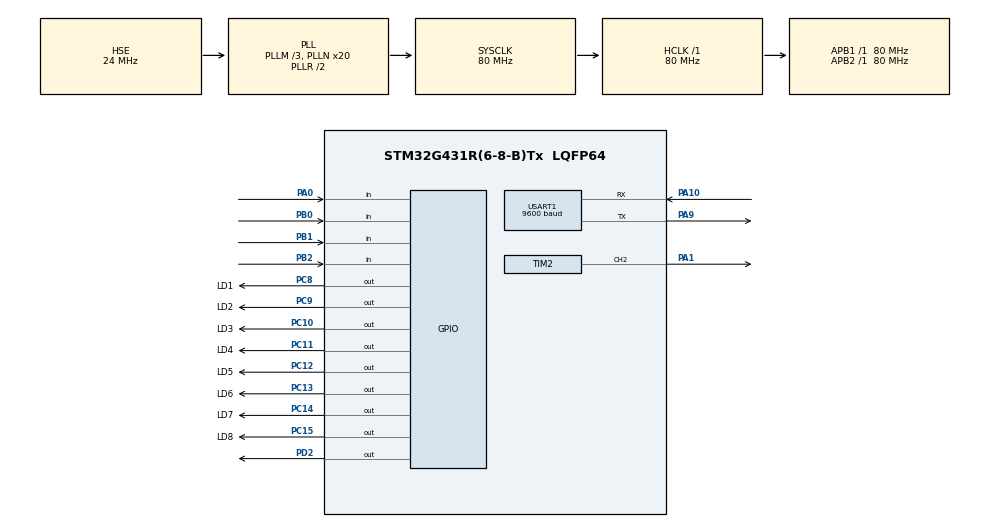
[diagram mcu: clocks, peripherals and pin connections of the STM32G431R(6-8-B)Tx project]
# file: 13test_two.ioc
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Mcu.Family=STM32G4
Mcu.Name=STM32G431R(6-8-B)Tx
Mcu.Package=LQFP64
NVIC.PriorityGroup=NVIC_PRIORITYGROUP_2
NVIC.TIM6_DAC_IRQn=true\:0\:0\:false\:false\:true\:true\:true\:true
NVIC.USART1_IRQn=true\:0\:0\:false\:false\:true\:true\:true\:true
PA0.Signal=GPIO_Input
PA1.Signal=S_TIM2_CH2
PA10.Mode=Asynchronous
PA10.Signal=USART1_RX
PA13.Mode=Serial_Wire
PA13.Signal=SYS_JTMS-SWDIO
PA14.Mode=Serial_Wire
PA14.Signal=SYS_JTCK-SWCLK
PA9.Mode=Asynchronous
PA9.Signal=USART1_TX
PB0.Signal=GPIO_Input
PB1.Signal=GPIO_Input
PB2.Signal=GPIO_Input
PC10.GPIO_Label=LD3
PC10.PinState=GPIO_PIN_SET
PC10.Signal=GPIO_Output
PC11.GPIO_Label=LD4
PC11.PinState=GPIO_PIN_SET
PC11.Signal=GPIO_Output
PC12.GPIO_Label=LD5
PC12.PinState=GPIO_PIN_SET
PC12.Signal=GPIO_Output
PC13.GPIO_Label=LD6
PC13.PinState=GPIO_PIN_SET
PC13.Signal=GPIO_Output
PC14-OSC32_IN.GPIO_Label=LD7
PC14-OSC32_IN.PinState=GPIO_PIN_SET
PC14-OSC32_IN.Signal=GPIO_Output
PC15-OSC32_OUT.GPIO_Label=LD8
PC15-OSC32_OUT.PinState=GPIO_PIN_SET
PC15-OSC32_OUT.Signal=GPIO_Output
PC8.GPIO_Label=LD1
PC8.PinState=GPIO_PIN_SET
PC8.Signal=GPIO_Output
PC9.GPIO_Label=LD2
PC9.PinState=GPIO_PIN_SET
PC9.Signal=GPIO_Output
PD2.Signal=GPIO_Output
PF0-OSC_IN.Mode=HSE-External-Oscillator
PF0-OSC_IN.Signal=RCC_OSC_IN
PF1-OSC_OUT.Mode=HSE-External-Oscillator
PF1-OSC_OUT.Signal=RCC_OSC_OUT
ProjectManager.HeapSize=0x200
ProjectManager.StackSize=0x400
ProjectManager.TargetToolchain=MDK-ARM V5.32
RCC.ADC12Freq_Value=80000000
RCC.AHBFreq_Value=80000000
RCC.APB1Freq_Value=80000000
RCC.APB1TimFreq_Value=80000000
RCC.APB2Freq_Value=80000000
RCC.APB2TimFreq_Value=80000000
RCC.CortexFreq_Value=80000000
RCC.EXTERNAL_CLOCK_VALUE=12288000
RCC.HCLKFreq_Value=80000000
RCC.HSE_VALUE=24000000
RCC.HSI48_VALUE=48000000
RCC.HSI_VALUE=16000000
RCC.LSE_VALUE=32768
RCC.PLLM=RCC_PLLM_DIV3
RCC.PLLN=20
RCC.PLLSourceVirtual=RCC_PLLSOURCE_HSE
RCC.SYSCLKFreq_VALUE=80000000
RCC.SYSCLKSource=RCC_SYSCLKSOURCE_PLLCLK
RCC.USBFreq_Value=80000000
RCC.VCOOutputFreq_Value=160000000
SH.S_TIM2_CH2.0=TIM2_CH2,PWM Generation2 CH2
TIM2.Channel-PWM\ Generation2\ CH2=TIM_CHANNEL_2
TIM2.PeriodNoDither=499
TIM2.Prescaler=79
TIM6.AutoReloadPreload=TIM_AUTORELOAD_PRELOAD_ENABLE
TIM6.PeriodNoDither=999
TIM6.Prescaler=79
USART1.BaudRate=9600
USART1.VirtualMode-Asynchronous=VM_ASYNC
VP_SYS_VS_DBSignals.Mode=DisableDeadBatterySignals
VP_TIM2_VS_ClockSourceINT.Mode=Internal
VP_TIM6_VS_ClockSourceINT.Mode=Enable_Timer
board=custom

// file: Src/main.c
/* USER CODE BEGIN Header */
/**
  ******************************************************************************
  * @file           : main.c
  * @brief          : Main program body
  ******************************************************************************
  * @attention
  *
  * Copyright (c) 2023 STMicroelectronics.
  * All rights reserved.
  *
  * This software is licensed under terms that can be found in the LICENSE file
  * in the root directory of this software component.
  * If no LICENSE file comes with this software, it is provided AS-IS.
  *
  ******************************************************************************
  */
/* USER CODE END Header */
#include "main.h"
#include "tim.h"
#include "usart.h"
#include "gpio.h"

/* USER CODE BEGIN Includes */
#include <string.h>
#include <stdio.h>
#include "bsp_key.h"
#include "bsp_led.h"
#include "bsp_lcd.h"
#include "bsp_iic.h"

/* USER CODE END Includes */

/* USER CODE BEGIN PV */

/* lcd专用变量 */
uint8_t ucLED;  /* 使用此变量将数据进行与或操作来进行开关灯 */
uint8_t LD2_flag;
uint8_t LD1_flag;
uint16_t LD1_cnt_5000ms;

/* pwm专用变量 */
uint8_t pwm_flag = 0;  /* 默认输出脉冲为2000hz，占空比为5% */
uint16_t pwm_cnt_5000ms;

/* EEPROM专用变量 */
int rand_num;

/* lcd专用变量 */
uint8_t Lcd_Disp_String[21];
uint8_t COM_FACE;
uint8_t COMMODx = 0, COMMODy = 0;    /* 商品x，y */
uint8_t COMMODpx = 10, COMMODpy = 10;  /* 商品价格x，y 的价格扩大10倍 显示的时候进行缩小 */
uint8_t COMMODrx = 10, COMMODry = 10;    /* 商品库存x，y */

/* UART专用变量 */
uint8_t tx[21], rx, rx_buf[7];
uint8_t index;  /* 读取数组下标索引 */

/* USER CODE END PV */

void SystemClock_Config(void);
/* USER CODE BEGIN PFP */
void LCD_Proc(void);
void LED_Proc(void);
void Uart_Proc(void);
void PWM_Proc(void);
int isRxCplt(void);

/* USER CODE END PFP */

int main(void)
{
  /* USER CODE BEGIN 1 */
	uint8_t a;
  /* USER CODE END 1 */

  /* MCU Configuration--------------------------------------------------------*/

  /* Reset of all peripherals, Initializes the Flash interface and the Systick. */
  HAL_Init();

  /* Configure the system clock */
  SystemClock_Config();

  /* Initialize all configured peripherals */
  MX_GPIO_Init();
  MX_TIM2_Init();
  MX_TIM6_Init();
  MX_USART1_UART_Init();
  /* USER CODE BEGIN 2 */

	LCD_Init();  /*  LCD初始化 */

  /* USER CODE END 2 */

  /* Infinite loop */
  /* USER CODE BEGIN WHILE */
  LCD_Clear(White);
	LCD_SetBackColor(White);   // 背景颜色
	LCD_SetTextColor(Blue);  // 文本颜色
	HAL_TIM_Base_Start_IT(&htim6);  /* 开启定时器6中断 */

	IIC_GPIO_Init();

	a = EEPROM_read(0x08);  /* 读取EEPROM的值 */
	if(a=='a') {            /* 判断板子是不是第一次上电 板子不是新板，就读取数据 */
	COMMODrx = EEPROM_read(0x00);
	COMMODry = EEPROM_read(0x01);
	COMMODpx = EEPROM_read(0x02);
	COMMODpy = EEPROM_read(0x03);
	}
	else  {                /* 如果板子是第一次上电 ，将商品赋值为初值 */
		COMMODrx = 10;
		COMMODry = 10;
		COMMODpx = 10;
		COMMODpy = 10;
		EEPROM_write(0x08,'a');
	}

	HAL_TIM_PWM_Start(&htim2, TIM_CHANNEL_2);  /* 定时器2通道2 PWM */
	__HAL_TIM_SET_AUTORELOAD(&htim2, 499);  /* 设置频率为2000hz */
	__HAL_TIM_SET_COMPARE(&htim2, TIM_CHANNEL_2, 25);  /* 设置占空比5% = 25/500*/

	HAL_UART_Receive_IT(&huart1, &rx, 1);  /* 开启串口中断 */

  while(1)
  {

    /* USER CODE END WHILE */

    /* USER CODE BEGIN 3 */
    LCD_Proc();
		PWM_Proc();
		LED_Proc();
		Key_Proc();
		Uart_Proc();

  }

	return 0;
  /* USER CODE END 3 */
}

void SystemClock_Config(void)
{
  RCC_OscInitTypeDef RCC_OscInitStruct = {0};
  RCC_ClkInitTypeDef RCC_ClkInitStruct = {0};

  /** Configure the main internal regulator output voltage
  */
  HAL_PWREx_ControlVoltageScaling(PWR_REGULATOR_VOLTAGE_SCALE1);

  /** Initializes the RCC Oscillators according to the specified parameters
  * in the RCC_OscInitTypeDef structure.
  */
  RCC_OscInitStruct.OscillatorType = RCC_OSCILLATORTYPE_HSE;
  RCC_OscInitStruct.HSEState = RCC_HSE_ON;
  RCC_OscInitStruct.PLL.PLLState = RCC_PLL_ON;
  RCC_OscInitStruct.PLL.PLLSource = RCC_PLLSOURCE_HSE;
  RCC_OscInitStruct.PLL.PLLM = RCC_PLLM_DIV3;
  RCC_OscInitStruct.PLL.PLLN = 20;
  RCC_OscInitStruct.PLL.PLLP = RCC_PLLP_DIV2;
  RCC_OscInitStruct.PLL.PLLQ = RCC_PLLQ_DIV2;
  RCC_OscInitStruct.PLL.PLLR = RCC_PLLR_DIV2;
  if (HAL_RCC_OscConfig(&RCC_OscInitStruct) != HAL_OK)
  {
    Error_Handler();
  }

  /** Initializes the CPU, AHB and APB buses clocks
  */
  RCC_ClkInitStruct.ClockType = RCC_CLOCKTYPE_HCLK|RCC_CLOCKTYPE_SYSCLK
                              |RCC_CLOCKTYPE_PCLK1|RCC_CLOCKTYPE_PCLK2;
  RCC_ClkInitStruct.SYSCLKSource = RCC_SYSCLKSOURCE_PLLCLK;
  RCC_ClkInitStruct.AHBCLKDivider = RCC_SYSCLK_DIV1;
  RCC_ClkInitStruct.APB1CLKDivider = RCC_HCLK_DIV1;
  RCC_ClkInitStruct.APB2CLKDivider = RCC_HCLK_DIV1;

  if (HAL_RCC_ClockConfig(&RCC_ClkInitStruct, FLASH_LATENCY_2) != HAL_OK)
  {
    Error_Handler();
  }
}

/* USER CODE BEGIN 4 */

void LCD_Proc(void) {
	static __IO uint32_t uwTick_LCD_Speed = 0;

  if((uwTick - uwTick_LCD_Speed) < 100 ) return;  /* 100ms进入一次此函数 */
  uwTick_LCD_Speed = uwTick;

	if(COM_FACE == 0) {	  /* 购买界面0 */
		sprintf((char* )Lcd_Disp_String, (const char* )"        SHOP");
		LCD_DisplayStringLine(Line2, Lcd_Disp_String);
		sprintf((char* )Lcd_Disp_String, (const char* )"    X : %d", COMMODx);
		LCD_DisplayStringLine(Line4, Lcd_Disp_String);
		sprintf((char* )Lcd_Disp_String, (const char* )"    Y : %d", COMMODy);
		LCD_DisplayStringLine(Line5, Lcd_Disp_String);
	}
	else if(COM_FACE == 1) {  /* 价格界面1 */
		sprintf((char* )Lcd_Disp_String, (const char* )"        PRICE");
		LCD_DisplayStringLine(Line2, Lcd_Disp_String);
		sprintf((char* )Lcd_Disp_String, (const char* )"    X : %.1f", (float)(0.1*COMMODpx));
		LCD_DisplayStringLine(Line4, Lcd_Disp_String);
		sprintf((char* )Lcd_Disp_String, (const char* )"    Y : %.1f", (float)(0.1*COMMODpy));
		LCD_DisplayStringLine(Line5, Lcd_Disp_String);
	}
	else if(COM_FACE == 2) {  /* 库存界面2 */
		sprintf((char* )Lcd_Disp_String, (const char* )"        REP");
		LCD_DisplayStringLine(Line2, Lcd_Disp_String);
		sprintf((char* )Lcd_Disp_String, (const char* )"    X : %d", COMMODrx);
		LCD_DisplayStringLine(Line4, Lcd_Disp_String);
		sprintf((char* )Lcd_Disp_String, (const char* )"    Y : %d", COMMODry);
		LCD_DisplayStringLine(Line5, Lcd_Disp_String);
	}

}

void PWM_Proc(void) {
	if(pwm_flag) {
		__HAL_TIM_SET_AUTORELOAD(&htim2, 499);  /* 设置频率为2000hz */
		__HAL_TIM_SET_COMPARE(&htim2, TIM_CHANNEL_2, 150);  /* 设置占空比30% = 150/500*/
	}
	else {
		__HAL_TIM_SET_AUTORELOAD(&htim2, 499);  /* 设置频率为2000hz */
		__HAL_TIM_SET_COMPARE(&htim2, TIM_CHANNEL_2, 25);  /* 设置占空比5% = 25/500*/
	}

}

int isRxCplt(void) {

	if(index == 0)  /* 未接受到数据 */
		return 0;

	if(index != 1)  /* 接收数据长度不为1 */
		return -1;

	if(rx_buf[0] == 0x3F)  /* 接受数据为‘？’*/
		return 1;
	else
		return -1;

}

void Uart_Proc(void) {
	static __IO uint32_t uwTick_UART_Speed = 0;

  if((uwTick - uwTick_UART_Speed) < 100 ) return;
  uwTick_UART_Speed = uwTick;

	if(isRxCplt() == 1)  /* 接受数据合法’*/
	{
		sprintf((char* )tx, "X:%.1f,Y:%.1f\n", (float)(0.1*COMMODpx), (float)(0.1*COMMODpy));
		HAL_UART_Transmit(&huart1, tx, strlen((const char* )tx), 1000);
	}
	else if(isRxCplt() == -1) {
		sprintf((char* )tx, "ERROR!\n");
		HAL_UART_Transmit(&huart1, tx, strlen((const char* )tx), 1000);
	}

	index = 0;
}

void LED_Proc(void) {
	static __IO uint32_t uwTick_LED_Speed;
	if((uwTick - uwTick_LED_Speed) < 10 )  return;
	uwTick_LED_Speed = uwTick;

	if(LD1_flag == 0) {
		ucLED &= 0xFE;
	}

	if((COMMODrx == 0)&&(COMMODry == 0)) {
		if(LD2_flag){
			ucLED |= LD2;
		}
		else {
			ucLED &= 0xFD;
		}
	}

	LED_Disp(ucLED);
}

/* 串口的中断回调函数 */
void HAL_UART_RxCpltCallback(UART_HandleTypeDef *huart)
{
	if(huart->Instance == USART1) {
		rx_buf[index++] = rx;
	}

	HAL_UART_Receive_IT(&huart1, &rx, 1);
}

/* 定时器的中断回调函数 */
void HAL_TIM_PeriodElapsedCallback(TIM_HandleTypeDef *htim) {
	static uint8_t cnt_100ms;
	if(htim -> Instance == TIM6) {
		if(++cnt_100ms >= 100) {
			cnt_100ms = 0;
			LD2_flag ^= 1;
		}

		if(pwm_flag) {
			pwm_cnt_5000ms++;
			if(pwm_cnt_5000ms > 5000) {
				pwm_cnt_5000ms = 0;
				pwm_flag = 0;
			}
		}

		if(LD1_flag == 1) {
			LD1_cnt_5000ms++;
			if(LD1_cnt_5000ms >= 5000) {
				LD1_flag = 0;
				LD1_cnt_5000ms = 0;
			}

		}
	}
}

/* USER CODE END 4 */

void Error_Handler(void)
{
  __disable_irq();
  while (1)
  {
  }
}
